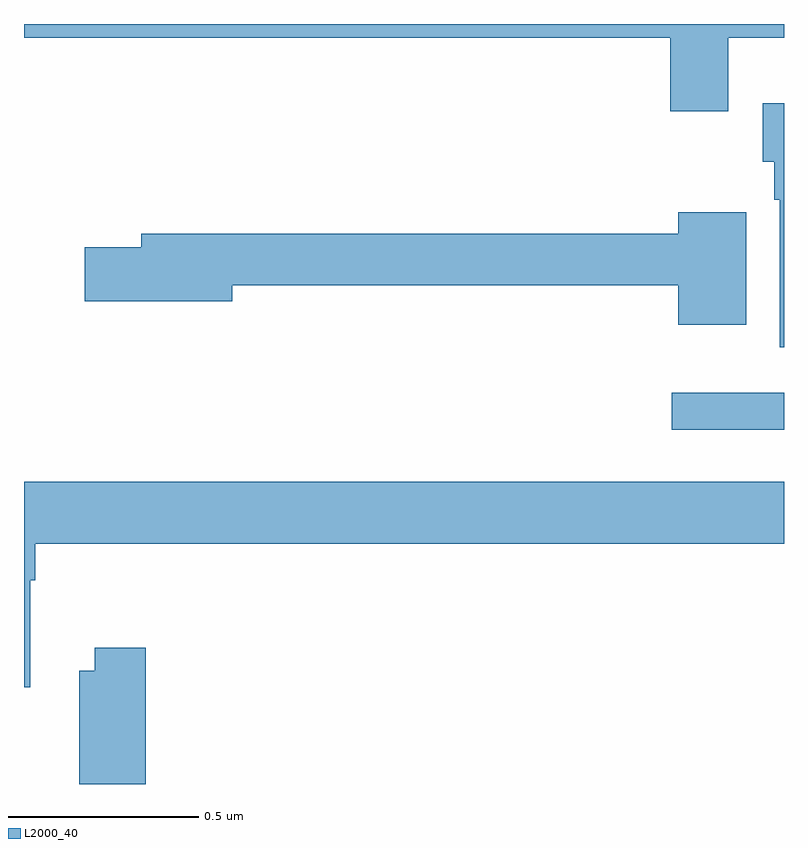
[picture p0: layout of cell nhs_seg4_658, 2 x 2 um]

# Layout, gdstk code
import gdstk
lib = gdstk.Library(unit=1e-6, precision=1e-09)
def R(c, l, rs):  # rectangles x0, y0, x1, y1
    for r in rs: c.add(gdstk.rectangle(r[:2], r[2:], *l))
def P(c, l, *ps):  # polygons
    for p in ps: c.add(gdstk.Polygon(p, *l))
L2000_40 = (2000, 40)

nhs_seg4_658 = lib.new_cell('nhs_seg4_658')
R(nhs_seg4_658, L2000_40, [(120.705,751.832,121,751.929)])
P(nhs_seg4_658, L2000_40, [(120.853,752.864),(121,752.864),(121,752.9),(119,752.9),(119,752.864),(120.701,752.864),(120.701,752.67),(120.853,752.67)],
  [(121,752.692),(120.944,752.692),(120.944,752.538),(120.974,752.538),(120.974,752.438),(120.989,752.438),(120.989,752.049),(121,752.049)],
  [(120.901,752.404),(120.722,752.404),(120.722,752.348),(119.309,752.348),(119.309,752.312),(119.16,752.312),(119.16,752.17),(119.548,752.17),(119.548,752.212),(120.722,752.212),(120.722,752.108),(120.901,752.108)],
  [(119.017,751.436),(119.03,751.436),(119.03,751.532),(121,751.532),(121,751.696),(119,751.696),(119,751.155),(119.017,751.155)],
  [(119.321,751.258),(119.186,751.258),(119.186,751.198),(119.146,751.198),(119.146,750.9),(119.321,750.9)])

lib.write_gds('nhs_seg4_658.gds')
